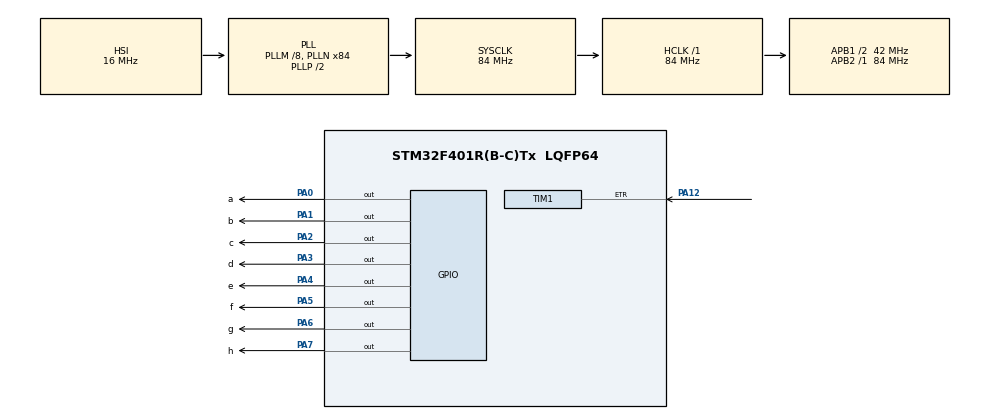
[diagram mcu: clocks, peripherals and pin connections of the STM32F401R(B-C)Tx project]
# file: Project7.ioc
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Mcu.Family=STM32F4
RCC.CortexFreq_Value=84000000
SH.S_TIM1_ETR.0=TIM1_ETR,ClockSourceETR_Mode2
PA6.GPIO_Label=g
TIM1.ClockFilter=15
RCC.APB1CLKDivider=RCC_HCLK_DIV2
RCC.SYSCLKSource=RCC_SYSCLKSOURCE_PLLCLK
ProjectManager.StackSize=0x400
PA0-WKUP.GPIO_Label=a
PA0-WKUP.Signal=GPIO_Output
TIM1.AutoReloadPreload=TIM_AUTORELOAD_PRELOAD_ENABLE
PA12.Signal=S_TIM1_ETR
ProjectManager.TargetToolchain=STM32CubeIDE
RCC.HCLKFreq_Value=84000000
RCC.APB2TimFreq_Value=84000000
RCC.LSE_VALUE=32768
PA1.Signal=GPIO_Output
RCC.AHBFreq_Value=84000000
PA5.Signal=GPIO_Output
RCC.HSE_VALUE=25000000
board=custom
RCC.VCOOutputFreq_Value=168000000
RCC.APB2Freq_Value=84000000
PA1.GPIO_Label=b
Mcu.Name=STM32F401R(B-C)Tx
PA2.Signal=GPIO_Output
RCC.48MHZClocksFreq_Value=42000000
PA4.Signal=GPIO_Output
RCC.SYSCLKFreq_VALUE=84000000
Mcu.Package=LQFP64
PA6.Signal=GPIO_Output
PA7.GPIO_Label=h
PA5.GPIO_Label=f
PA2.GPIO_Label=c
ProjectManager.HeapSize=0x200
RCC.HSI_VALUE=16000000
NVIC.PriorityGroup=NVIC_PRIORITYGROUP_4
RCC.PLLM=8
RCC.PLLN=84
RCC.APB1TimFreq_Value=84000000
PA12.GPIO_PuPd=GPIO_PULLDOWN
RCC.APB1Freq_Value=42000000
PA4.GPIO_Label=e
PA12.GPIO_Speed=GPIO_SPEED_FREQ_HIGH
PA3.GPIO_Label=d
PA3.Signal=GPIO_Output
PA7.Signal=GPIO_Output

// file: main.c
/* USER CODE BEGIN Header */
/**
  ******************************************************************************
  * @file           : main.c
  * @brief          : Main program body
  ******************************************************************************
  * @attention
  *
  * <h2><center>&copy; Copyright (c) 2021 STMicroelectronics.
  * All rights reserved.</center></h2>
  *
  * This software component is licensed by ST under BSD 3-Clause license,
  * the "License"; You may not use this file except in compliance with the
  * License. You may obtain a copy of the License at:
  *                        opensource.org/licenses/BSD-3-Clause
  *
  ******************************************************************************
  */
/* USER CODE END Header */
#include "main.h"

TIM_HandleTypeDef htim1;

/* USER CODE BEGIN PV */
int count;
int dig1;
int dig2;
/* USER CODE END PV */

void SystemClock_Config(void);
static void MX_GPIO_Init(void);
static void MX_TIM1_Init(void);
/* USER CODE BEGIN PFP */
void SystemClock_Config(void);
void My_num_bcd(uint8_t x){
	HAL_GPIO_WritePin(a_GPIO_Port, a_Pin, GPIO_PIN_RESET);
	HAL_GPIO_WritePin(b_GPIO_Port, b_Pin, GPIO_PIN_RESET);
	HAL_GPIO_WritePin(c_GPIO_Port, c_Pin, GPIO_PIN_RESET);
	HAL_GPIO_WritePin(d_GPIO_Port, d_Pin, GPIO_PIN_RESET);
	if(x==0){

	}
	if(x==1){
		HAL_GPIO_WritePin(a_GPIO_Port, a_Pin, GPIO_PIN_SET);
	}
	if(x==2){
		HAL_GPIO_WritePin(b_GPIO_Port, b_Pin, GPIO_PIN_SET);
	}
	if(x==3){
		HAL_GPIO_WritePin(a_GPIO_Port, a_Pin, GPIO_PIN_SET);
		HAL_GPIO_WritePin(b_GPIO_Port, b_Pin, GPIO_PIN_SET);
	}
	if(x==4){
		HAL_GPIO_WritePin(c_GPIO_Port, c_Pin, GPIO_PIN_SET);
	}
	if(x==5){
		HAL_GPIO_WritePin(a_GPIO_Port, a_Pin, GPIO_PIN_SET);
		HAL_GPIO_WritePin(c_GPIO_Port, c_Pin, GPIO_PIN_SET);
	}
	if(x==6){
		HAL_GPIO_WritePin(b_GPIO_Port, b_Pin, GPIO_PIN_SET);
		HAL_GPIO_WritePin(c_GPIO_Port, c_Pin, GPIO_PIN_SET);
	}
	if(x==7){
		HAL_GPIO_WritePin(a_GPIO_Port, a_Pin, GPIO_PIN_SET);
		HAL_GPIO_WritePin(b_GPIO_Port, b_Pin, GPIO_PIN_SET);
		HAL_GPIO_WritePin(c_GPIO_Port, c_Pin, GPIO_PIN_SET);
	}
	if(x==8){
		HAL_GPIO_WritePin(d_GPIO_Port, d_Pin, GPIO_PIN_SET);
	}
	if(x==9){
		HAL_GPIO_WritePin(a_GPIO_Port, a_Pin, GPIO_PIN_SET);
		HAL_GPIO_WritePin(d_GPIO_Port, d_Pin, GPIO_PIN_SET);
	}
	if(x==10){
		HAL_GPIO_WritePin(b_GPIO_Port, b_Pin, GPIO_PIN_SET);
		HAL_GPIO_WritePin(d_GPIO_Port, d_Pin, GPIO_PIN_SET);
	}
	if(x==11){
		HAL_GPIO_WritePin(a_GPIO_Port, a_Pin, GPIO_PIN_SET);
		HAL_GPIO_WritePin(b_GPIO_Port, b_Pin, GPIO_PIN_SET);
		HAL_GPIO_WritePin(d_GPIO_Port, d_Pin, GPIO_PIN_SET);
	}
	if(x==12){
		HAL_GPIO_WritePin(c_GPIO_Port, c_Pin, GPIO_PIN_SET);
		HAL_GPIO_WritePin(d_GPIO_Port, d_Pin, GPIO_PIN_SET);
	}
	if(x==13){
		HAL_GPIO_WritePin(a_GPIO_Port, a_Pin, GPIO_PIN_SET);
		HAL_GPIO_WritePin(c_GPIO_Port, c_Pin, GPIO_PIN_SET);
		HAL_GPIO_WritePin(d_GPIO_Port, d_Pin, GPIO_PIN_SET);
	}
	if(x==14){
		HAL_GPIO_WritePin(b_GPIO_Port, b_Pin, GPIO_PIN_SET);
		HAL_GPIO_WritePin(c_GPIO_Port, c_Pin, GPIO_PIN_SET);
		HAL_GPIO_WritePin(d_GPIO_Port, d_Pin, GPIO_PIN_SET);
	}
	if(x==15){
		HAL_GPIO_WritePin(a_GPIO_Port, a_Pin, GPIO_PIN_SET);
		HAL_GPIO_WritePin(b_GPIO_Port, b_Pin, GPIO_PIN_SET);
		HAL_GPIO_WritePin(c_GPIO_Port, c_Pin, GPIO_PIN_SET);
		HAL_GPIO_WritePin(d_GPIO_Port, d_Pin, GPIO_PIN_SET);
	}
}
void My_num_bcd2(uint8_t x){
	HAL_GPIO_WritePin(e_GPIO_Port, e_Pin, GPIO_PIN_RESET);
	HAL_GPIO_WritePin(f_GPIO_Port, f_Pin, GPIO_PIN_RESET);
	HAL_GPIO_WritePin(g_GPIO_Port, g_Pin, GPIO_PIN_RESET);
	HAL_GPIO_WritePin(h_GPIO_Port, h_Pin, GPIO_PIN_RESET);
	if(x==0){

	}
	if(x==1){
		HAL_GPIO_WritePin(e_GPIO_Port, e_Pin, GPIO_PIN_SET);
	}
	if(x==2){
		HAL_GPIO_WritePin(f_GPIO_Port, f_Pin, GPIO_PIN_SET);
	}
	if(x==3){
		HAL_GPIO_WritePin(e_GPIO_Port, e_Pin, GPIO_PIN_SET);
		HAL_GPIO_WritePin(f_GPIO_Port, f_Pin, GPIO_PIN_SET);
	}
	if(x==4){
		HAL_GPIO_WritePin(g_GPIO_Port, g_Pin, GPIO_PIN_SET);
	}
	if(x==5){
		HAL_GPIO_WritePin(e_GPIO_Port, e_Pin, GPIO_PIN_SET);
		HAL_GPIO_WritePin(g_GPIO_Port, g_Pin, GPIO_PIN_SET);
	}
	if(x==6){
		HAL_GPIO_WritePin(f_GPIO_Port, f_Pin, GPIO_PIN_SET);
		HAL_GPIO_WritePin(g_GPIO_Port, g_Pin, GPIO_PIN_SET);
	}
	if(x==7){
		HAL_GPIO_WritePin(e_GPIO_Port, e_Pin, GPIO_PIN_SET);
		HAL_GPIO_WritePin(f_GPIO_Port, f_Pin, GPIO_PIN_SET);
		HAL_GPIO_WritePin(g_GPIO_Port, g_Pin, GPIO_PIN_SET);
	}
	if(x==8){
		HAL_GPIO_WritePin(h_GPIO_Port, h_Pin, GPIO_PIN_SET);
	}
	if(x==9){
		HAL_GPIO_WritePin(e_GPIO_Port, e_Pin, GPIO_PIN_SET);
		HAL_GPIO_WritePin(h_GPIO_Port, h_Pin, GPIO_PIN_SET);
	}
	if(x==10){
		HAL_GPIO_WritePin(f_GPIO_Port, f_Pin, GPIO_PIN_SET);
		HAL_GPIO_WritePin(h_GPIO_Port, h_Pin, GPIO_PIN_SET);
	}
	if(x==11){
		HAL_GPIO_WritePin(e_GPIO_Port, e_Pin, GPIO_PIN_SET);
		HAL_GPIO_WritePin(f_GPIO_Port, f_Pin, GPIO_PIN_SET);
		HAL_GPIO_WritePin(h_GPIO_Port, h_Pin, GPIO_PIN_SET);
	}
	if(x==12){
		HAL_GPIO_WritePin(g_GPIO_Port, g_Pin, GPIO_PIN_SET);
		HAL_GPIO_WritePin(h_GPIO_Port, h_Pin, GPIO_PIN_SET);
	}
	if(x==13){
		HAL_GPIO_WritePin(e_GPIO_Port, e_Pin, GPIO_PIN_SET);
		HAL_GPIO_WritePin(g_GPIO_Port, g_Pin, GPIO_PIN_SET);
		HAL_GPIO_WritePin(h_GPIO_Port, h_Pin, GPIO_PIN_SET);
	}
	if(x==14){
		HAL_GPIO_WritePin(f_GPIO_Port, f_Pin, GPIO_PIN_SET);
		HAL_GPIO_WritePin(g_GPIO_Port, g_Pin, GPIO_PIN_SET);
		HAL_GPIO_WritePin(h_GPIO_Port, h_Pin, GPIO_PIN_SET);
	}
	if(x==15){
		HAL_GPIO_WritePin(e_GPIO_Port, e_Pin, GPIO_PIN_SET);
		HAL_GPIO_WritePin(f_GPIO_Port, f_Pin, GPIO_PIN_SET);
		HAL_GPIO_WritePin(g_GPIO_Port, g_Pin, GPIO_PIN_SET);
		HAL_GPIO_WritePin(h_GPIO_Port, h_Pin, GPIO_PIN_SET);
	}
}
/* USER CODE END PFP */

int main(void)
{

  /* MCU Configuration--------------------------------------------------------*/

  /* Reset of all peripherals, Initializes the Flash interface and the Systick. */
  HAL_Init();

  /* Configure the system clock */
  SystemClock_Config();

  /* Initialize all configured peripherals */
  MX_GPIO_Init();
  MX_TIM1_Init();
  /* USER CODE BEGIN 2 */
  //HAL_TIM_Base_Start_IT(&htim1);
  HAL_TIM_Base_Start(&htim1);

  /* USER CODE END 2 */

  /* Infinite loop */
  while (1)
  {
	  count =__HAL_TIM_GetCounter(&htim1);
	  	 // count = TIM1->CNT;
	  	  dig1=count%10;
	  	  dig2=count/10;
	  	  My_num_bcd(dig1);
	  	  My_num_bcd2(dig2);
	  	  HAL_Delay(10);
  }
}

void SystemClock_Config(void)
{
  RCC_OscInitTypeDef RCC_OscInitStruct = {0};
  RCC_ClkInitTypeDef RCC_ClkInitStruct = {0};

  /** Configure the main internal regulator output voltage
  */
  __HAL_RCC_PWR_CLK_ENABLE();
  __HAL_PWR_VOLTAGESCALING_CONFIG(PWR_REGULATOR_VOLTAGE_SCALE2);
  /** Initializes the RCC Oscillators according to the specified parameters
  * in the RCC_OscInitTypeDef structure.
  */
  RCC_OscInitStruct.OscillatorType = RCC_OSCILLATORTYPE_HSI;
  RCC_OscInitStruct.HSIState = RCC_HSI_ON;
  RCC_OscInitStruct.HSICalibrationValue = RCC_HSICALIBRATION_DEFAULT;
  RCC_OscInitStruct.PLL.PLLState = RCC_PLL_ON;
  RCC_OscInitStruct.PLL.PLLSource = RCC_PLLSOURCE_HSI;
  RCC_OscInitStruct.PLL.PLLM = 8;
  RCC_OscInitStruct.PLL.PLLN = 84;
  RCC_OscInitStruct.PLL.PLLP = RCC_PLLP_DIV2;
  RCC_OscInitStruct.PLL.PLLQ = 4;
  if (HAL_RCC_OscConfig(&RCC_OscInitStruct) != HAL_OK)
  {
    Error_Handler();
  }
  /** Initializes the CPU, AHB and APB buses clocks
  */
  RCC_ClkInitStruct.ClockType = RCC_CLOCKTYPE_HCLK|RCC_CLOCKTYPE_SYSCLK
                              |RCC_CLOCKTYPE_PCLK1|RCC_CLOCKTYPE_PCLK2;
  RCC_ClkInitStruct.SYSCLKSource = RCC_SYSCLKSOURCE_PLLCLK;
  RCC_ClkInitStruct.AHBCLKDivider = RCC_SYSCLK_DIV1;
  RCC_ClkInitStruct.APB1CLKDivider = RCC_HCLK_DIV2;
  RCC_ClkInitStruct.APB2CLKDivider = RCC_HCLK_DIV1;

  if (HAL_RCC_ClockConfig(&RCC_ClkInitStruct, FLASH_LATENCY_2) != HAL_OK)
  {
    Error_Handler();
  }
}

static void MX_TIM1_Init(void)
{

  TIM_ClockConfigTypeDef sClockSourceConfig = {0};
  TIM_MasterConfigTypeDef sMasterConfig = {0};

  htim1.Instance = TIM1;
  htim1.Init.Prescaler = 0;
  htim1.Init.CounterMode = TIM_COUNTERMODE_UP;
  htim1.Init.Period = 21;
  htim1.Init.ClockDivision = TIM_CLOCKDIVISION_DIV1;
  htim1.Init.RepetitionCounter = 0;
  htim1.Init.AutoReloadPreload = TIM_AUTORELOAD_PRELOAD_ENABLE;
  if (HAL_TIM_Base_Init(&htim1) != HAL_OK)
  {
    Error_Handler();
  }
  sClockSourceConfig.ClockSource = TIM_CLOCKSOURCE_ETRMODE2;
  sClockSourceConfig.ClockPolarity = TIM_CLOCKPOLARITY_NONINVERTED;
  sClockSourceConfig.ClockPrescaler = TIM_CLOCKPRESCALER_DIV1;
  sClockSourceConfig.ClockFilter = 15;
  if (HAL_TIM_ConfigClockSource(&htim1, &sClockSourceConfig) != HAL_OK)
  {
    Error_Handler();
  }
  sMasterConfig.MasterOutputTrigger = TIM_TRGO_RESET;
  sMasterConfig.MasterSlaveMode = TIM_MASTERSLAVEMODE_DISABLE;
  if (HAL_TIMEx_MasterConfigSynchronization(&htim1, &sMasterConfig) != HAL_OK)
  {
    Error_Handler();
  }

}

static void MX_GPIO_Init(void)
{
  GPIO_InitTypeDef GPIO_InitStruct = {0};

  /* GPIO Ports Clock Enable */
  __HAL_RCC_GPIOA_CLK_ENABLE();

  /*Configure GPIO pin Output Level */
  HAL_GPIO_WritePin(GPIOA, a_Pin|b_Pin|c_Pin|d_Pin
                          |e_Pin|f_Pin|g_Pin|h_Pin, GPIO_PIN_RESET);

  /*Configure GPIO pins : a_Pin b_Pin c_Pin d_Pin
                           e_Pin f_Pin g_Pin h_Pin */
  GPIO_InitStruct.Pin = a_Pin|b_Pin|c_Pin|d_Pin
                          |e_Pin|f_Pin|g_Pin|h_Pin;
  GPIO_InitStruct.Mode = GPIO_MODE_OUTPUT_PP;
  GPIO_InitStruct.Pull = GPIO_NOPULL;
  GPIO_InitStruct.Speed = GPIO_SPEED_FREQ_LOW;
  HAL_GPIO_Init(GPIOA, &GPIO_InitStruct);

}

void Error_Handler(void)
{
  __disable_irq();
  while (1)
  {
  }
}

/************************ (C) COPYRIGHT STMicroelectronics *****END OF FILE****/
